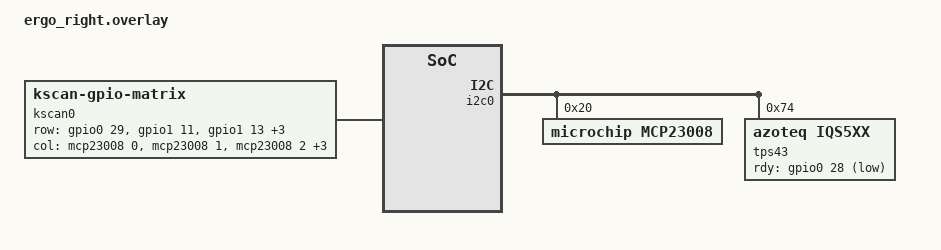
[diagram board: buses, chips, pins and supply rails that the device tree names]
/*
 * RIGHT half = split CENTRAL (it carries the trackpad).
 * Occupies logical columns 5..10, so the shared transform is shifted by 5.
 * Because the trackpad is on the central, it is an ordinary local pointing
 * device: no zmk,input-split / peripheral relay is required.
 */

#include <zephyr/dt-bindings/gpio/gpio.h>
#include <zephyr/dt-bindings/pinctrl/nrf-pinctrl.h>
#include <zephyr/dt-bindings/input/input-event-codes.h>
#include <dt-bindings/zmk/input_transform.h>
#include <input/processors.dtsi>   /* zip_xy_scaler / zip_scroll_scaler */
#include "ergo.dtsi"

/* Shift this half into logical columns 5..10. */
&default_transform {
    col-offset = <5>;
};

&i2c0 {
    mcp23008: mcp23008@20 {
        compatible = "microchip,mcp23008";
        status = "okay";
        reg = <0x20>;
        gpio-controller;
        #gpio-cells = <2>;
    };

    tps43: tps43@74 {
        compatible = "azoteq,iqs5xx";
        status = "okay";
        reg = <0x74>;
        rdy-gpios = <&gpio0 28 (GPIO_ACTIVE_LOW | GPIO_PULL_UP)>;
        /* reset-gpios intentionally omitted: gpio0 2 is the encoder A pin
           (encoder is defined in the shared ergo.dtsi). The IQS5xx resets
           itself on power-up, so an explicit reset line isn't required. */

        /* ---- All gestures this driver supports ---- */
        one-finger-tap;              /* tap            -> left click  */
        two-finger-tap;              /* two-finger tap -> right click */
        press-and-hold;              /* hold + move    -> click & drag */
        press-and-hold-time = <100>; /* +ms over tap time to engage drag (lowered from 250 so it triggers more easily) */
        scroll;                      /* two-finger vertical + horizontal scroll */
        /* (This driver has no pinch/zoom, 3-finger, or swipe gestures.) */

        /* ---- Feel tuning (not raw speed - that's the scaler below) ---- */
        stationary-threshold = <5>;  /* px a finger must move to count; raise to kill jitter */
        bottom-beta = <5>;           /* 0 = smoothest/laggiest ... 255 = snappiest/jitteriest */
    };
};

/ {
    chosen {
        zmk,kscan = &kscan0;
    };

    kscan0: kscan {
        compatible = "zmk,kscan-gpio-matrix";
        diode-direction = "col2row";
        wakeup-source;

        row-gpios
            = <&gpio0 29 (GPIO_ACTIVE_HIGH | GPIO_PULL_DOWN)> /* Row 0: D3 */
            , <&gpio1 11 (GPIO_ACTIVE_HIGH | GPIO_PULL_DOWN)> /* Row 1: D6 */
            , <&gpio1 13 (GPIO_ACTIVE_HIGH | GPIO_PULL_DOWN)> /* Row 2: D8 */
            , <&gpio1 14 (GPIO_ACTIVE_HIGH | GPIO_PULL_DOWN)> /* Row 3: D9 */
            , <&gpio1 15 (GPIO_ACTIVE_HIGH | GPIO_PULL_DOWN)> /* Row 4: D10 */
            , <&gpio1 12 (GPIO_ACTIVE_HIGH | GPIO_PULL_DOWN)> /* Row 5: D7 */
            ;

        col-gpios
            = <&mcp23008 0 GPIO_ACTIVE_HIGH>
            , <&mcp23008 1 GPIO_ACTIVE_HIGH>
            , <&mcp23008 2 GPIO_ACTIVE_HIGH>
            , <&mcp23008 3 GPIO_ACTIVE_HIGH>
            , <&mcp23008 4 GPIO_ACTIVE_HIGH>
            , <&mcp23008 5 GPIO_ACTIVE_HIGH>
            ;
    };

    /* Cursor movement transform */
    trackpad_transform: trackpad_transform {
        compatible = "zmk,input-processor-transform";
        #input-processor-cells = <1>;
        type = <INPUT_EV_REL>;
        x-codes = <INPUT_REL_X>;
        y-codes = <INPUT_REL_Y>;
    };

    /* Dedicated scroll transform */
    trackpad_scroll_transform: trackpad_scroll_transform {
        compatible = "zmk,input-processor-transform";
        #input-processor-cells = <1>;
        type = <INPUT_EV_REL>;
        x-codes = <INPUT_REL_HWHEEL>;
        y-codes = <INPUT_REL_WHEEL>;
    };

    trackpad_listener {
        compatible = "zmk,input-listener";
        device = <&tps43>;
        /*
         * DIRECTION: the transform flags below control axis mapping.
         *   INPUT_TRANSFORM_XY_SWAP   = exchange X and Y (up<->right)
         *   INPUT_TRANSFORM_X_INVERT  = flip left/right
         *   INPUT_TRANSFORM_Y_INVERT  = flip up/down
         * If a direction is still wrong after flashing, add or remove the
         * relevant flag. e.g. cursor goes left when you swipe right -> toggle
         * X_INVERT; scroll goes the wrong way -> toggle Y_INVERT. Combine with
         * '|'. Removing XY_SWAP (done here) fixes the up<->right transposition.
         *
         * SENSITIVITY: the scalers are <multiplier divisor>:
         *   <&zip_xy_scaler 1 1> = 1.0x   <&zip_xy_scaler 3 2> = 1.5x faster
         *   <&zip_xy_scaler 1 2> = 0.5x slower. Same for zip_scroll_scaler.
         * (None of this is editable in ZMK Studio - it's firmware.)
         */
        input-processors =
            <&trackpad_transform (INPUT_TRANSFORM_X_INVERT)>,
            <&zip_xy_scaler 1 1>,
            <&trackpad_scroll_transform (INPUT_TRANSFORM_Y_INVERT)>,
            <&zip_scroll_scaler 1 1>;
    };
};
